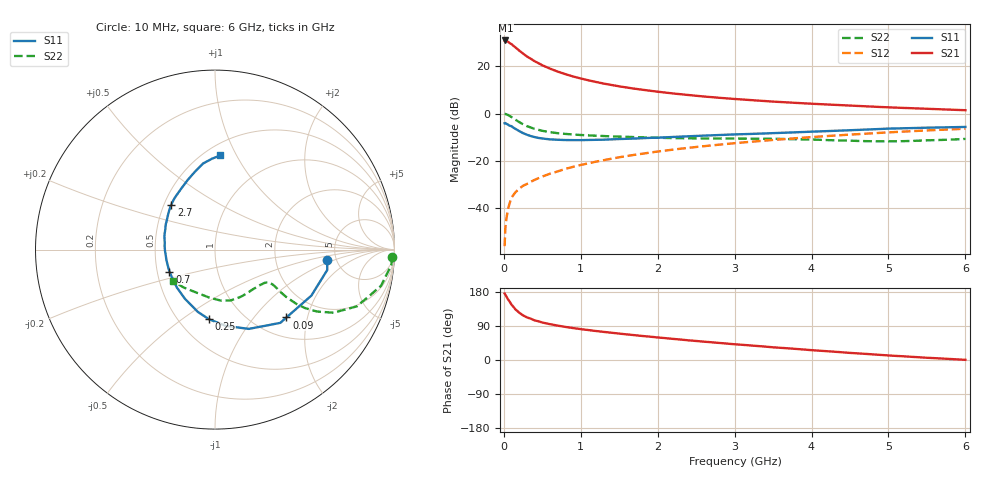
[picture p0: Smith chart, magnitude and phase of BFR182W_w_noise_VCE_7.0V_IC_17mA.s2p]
! Infineon Technologies  Discrete & RF Semiconductors
! BFR182W
! VCE =  7.0 V,  IC =  17 mA
! Common Emitter S-Parameters:  Jan 2017
# GHz  S  MA  R  50
!  f  S11  S21  S12  S22
! GHz  MAG  ANG  MAG  ANG  MAG  ANG  MAG  ANG
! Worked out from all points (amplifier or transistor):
!   77 points, 10 MHz to 6 GHz, reference 50 ohm
!   highest |S21| = 30.9 dB at 20 MHz (marker M1)
!   |S21| within 3 dB of that: start of sweep to 153.4 MHz
!   unconditionally stable (mu >= 1): 898.7 MHz to 2.431 GHz
!   at 130 MHz: K = 0.38, MSG = 31.3 dB, |S12| = -34.1 dB
!   at 2.2 GHz: K = 1.01, MAG = 11.1 dB, |S12| = -15.2 dB
!   at 6 GHz: K = 0.87, MSG = 3.9 dB, |S12| = -6.3 dB
!   lowest NFmin = 1.32 dB at 450 MHz
!   S11 on the Smith chart (normalised r, x): 10 MHz: 4.22, -0.78; 90 MHz: 1.38, -1.50; 250 MHz: 0.70, -0.63; 700 MHz: 0.58, -0.15; 2.7 GHz: 0.55, +0.31; 6 GHz: 0.59, +0.86
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0.01  0.6275 -5.1  35.05 175.4  0.0016 91.8  0.9897 -2.3
0.02  0.6356 -10.3  35.11 172.1  0.0039 93.4  0.9855 -5.1
0.05  0.5951 -25.5  33.28 161.4  0.0088 78.5  0.947 -12.3
0.09  0.549 -43.5  29.95 149.3  0.0152 72.8  0.8686 -19.7
0.1  0.5467 -48.3  29.35 145.9  0.0168 72.0  0.8515 -21.8
0.15  0.4803 -66.9  25.12 133.8  0.0219 67.5  0.749 -28.0
0.2  0.4291 -82.0  21.46 124.8  0.0261 65.3  0.6644 -31.3
0.25  0.3889 -95.1  18.53 117.7  0.0301 63.8  0.598 -33.0
0.3  0.3599 -105.4  16.14 112.5  0.0329 63.7  0.5457 -33.7
0.4  0.321 -121.5  12.8 104.6  0.0401 65.0  0.4771 -33.6
0.5  0.2997 -135.0  10.52 99.0  0.0471 65.8  0.4352 -32.9
0.6  0.2871 -145.7  8.929 94.5  0.0542 66.7  0.4072 -32.0
0.7  0.2816 -154.3  7.732 90.7  0.0605 68.7  0.388 -31.5
0.9  0.2768 -168.3  6.099 84.3  0.0755 69.0  0.3638 -31.2
1.1  0.2788 -178.9  5.062 79.0  0.0897 69.8  0.3489 -31.7
1.5  0.2917 165.1  3.778 69.7  0.1202 69.2  0.3279 -35.3
2.1  0.3168 147.4  2.789 57.7  0.1667 66.3  0.308 -44.7
2.7  0.3493 134.1  2.235 46.8  0.214 62.6  0.3 -57.1
3.1  0.3692 126.1  1.992 40.1  0.2463 59.6  0.2975 -65.3
4.1  0.423 109.8  1.593 24.6  0.3289 51.4  0.2812 -86.1
5.1  0.4882 96.7  1.342 10.8  0.411 42.0  0.2617 -116.4
6  0.5254 86.8  1.184 0.4  0.4815 33.0  0.2935 -143.6
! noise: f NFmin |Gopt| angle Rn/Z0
0.45  1.32  0.06  165  0.15
0.9  1.38  0.07  166  0.15
1.9  1.89  0.25  -146  0.15
2.4  2.15  0.25  -131  0.24
